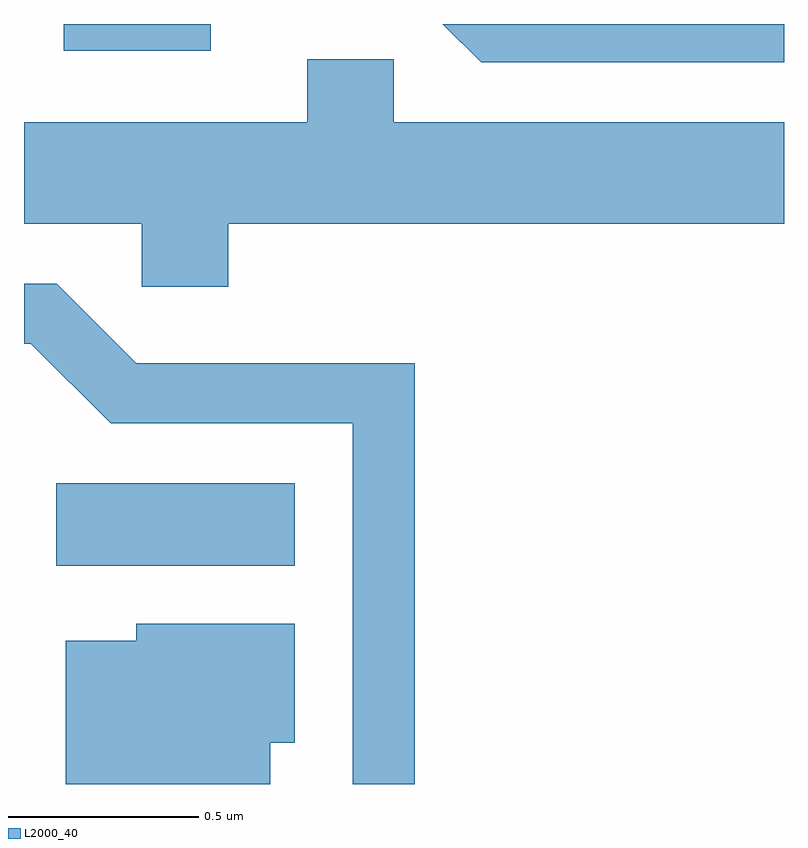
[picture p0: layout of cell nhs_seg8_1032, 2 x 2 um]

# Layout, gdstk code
import gdstk
lib = gdstk.Library(unit=1e-6, precision=1e-09)
def R(c, l, rs):  # rectangles x0, y0, x1, y1
    for r in rs: c.add(gdstk.rectangle(r[:2], r[2:], *l))
def P(c, l, *ps):  # polygons
    for p in ps: c.add(gdstk.Polygon(p, *l))
L2000_40 = (2000, 40)

nhs_seg8_1032 = lib.new_cell('nhs_seg8_1032')
R(nhs_seg8_1032, L2000_40, [(192.696,1879.916,193.324,1880.134), (192.716,1881.271,193.103,1881.342)])
P(nhs_seg8_1032, L2000_40, [(194.611,1881.342),(193.713,1881.342),(193.814,1881.241),(194.611,1881.241)],
  [(193.149,1880.816),(194.611,1880.816),(194.611,1881.084),(193.584,1881.084),(193.584,1881.249),(193.356,1881.249),(193.356,1881.084),(192.611,1881.084),(192.611,1880.816),(192.921,1880.816),(192.921,1880.651),(193.149,1880.651)],
  [(193.639,1880.449),(192.907,1880.449),(192.697,1880.659),(192.611,1880.659),(192.611,1880.501),(192.629,1880.501),(192.839,1880.291),(193.476,1880.291),(193.476,1879.342),(193.639,1879.342)],
  [(193.259,1879.451),(193.324,1879.451),(193.324,1879.764),(192.906,1879.764),(192.906,1879.719),(192.721,1879.719),(192.721,1879.342),(193.259,1879.342)])

lib.write_gds('nhs_seg8_1032.gds')
